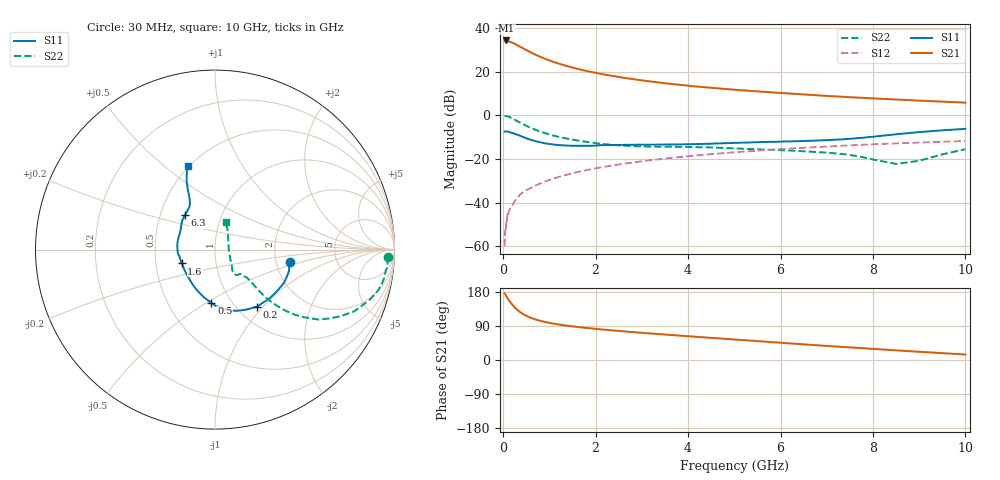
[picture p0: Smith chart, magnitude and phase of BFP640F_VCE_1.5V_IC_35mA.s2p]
! Infineon Technologies  Discrete & RF Semiconductors
! BFP640F
! VCE =  1.5 V,  IC =  35 mA
! Common Emitter S-Parameters:  Apr 2013
# GHz  S  MA  R  50
!  f  S11  S21  S12  S22
! GHz  MAG  ANG  MAG  ANG  MAG  ANG  MAG  ANG
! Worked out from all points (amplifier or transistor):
!   99 points, 30 MHz to 10 GHz, reference 50 ohm
!   highest |S21| = 34.4 dB at 70 MHz (marker M1)
!   |S21| within 3 dB of that: start of sweep to 376.6 MHz
!   unconditionally stable (mu >= 1): 1.577 GHz to end of sweep
!   at 350 MHz: K = 0.53, MSG = 34.2 dB, |S12| = -36.8 dB
!   at 3.5 GHz: K = 1.07, MAG = 15.7 dB, |S12| = -19.8 dB
!   at 10 GHz: K = 1.04, MAG = 7.5 dB, |S12| = -11.8 dB
!   S11 on the Smith chart (normalised r, x): 30 MHz: 2.38, -0.41; 200 MHz: 1.23, -0.92; 500 MHz: 0.81, -0.53; 1.6 GHz: 0.68, -0.11; 6.3 GHz: 0.67, +0.27; 10 GHz: 0.49, +0.61
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0.03  0.4232 -9.5  50.3 175.5  0.001 77.0  0.9626 -2.6
0.05  0.4282 -15.1  51.94 172.0  0.0028 68.3  0.9657 -5.7
0.07  0.4276 -20.6  52.21 167.6  0.0039 65.7  0.9568 -8.4
0.11  0.4179 -32.0  50.23 159.9  0.0055 80.3  0.9374 -13.9
0.15  0.4071 -42.2  48.7 153.2  0.0075 81.7  0.8986 -18.7
0.2  0.3948 -53.6  46.23 145.2  0.0088 77.6  0.8488 -23.9
0.25  0.3768 -62.6  43.79 138.6  0.0109 76.4  0.7929 -27.9
0.3  0.3616 -70.6  41.16 132.7  0.0127 74.4  0.7413 -31.2
0.4  0.3277 -83.7  35.95 123.5  0.0165 72.2  0.6472 -36.1
0.5  0.298 -93.8  31.45 116.6  0.0193 71.9  0.5743 -39.2
0.7  0.2555 -110.2  24.64 107.0  0.0247 71.4  0.4659 -42.2
0.9  0.2288 -123.6  19.99 100.5  0.0302 71.4  0.3932 -43.2
1.2  0.2083 -140.1  15.39 93.7  0.0387 71.3  0.322 -43.0
1.6  0.2008 -157.4  11.71 87.3  0.0499 70.2  0.2662 -41.8
1.7  0.2006 -161.0  11.05 85.9  0.0528 69.9  0.2553 -41.4
2.4  0.2085 -179.3  7.906 77.7  0.0722 67.1  0.2088 -42.7
3.4  0.2143 161.9  5.619 68.1  0.0993 62.3  0.1905 -46.7
5.1  0.2354 142.4  3.809 53.3  0.1448 52.9  0.1734 -51.2
6.3  0.255 131.2  3.116 43.0  0.1757 45.6  0.1544 -50.4
6.7  0.2623 126.6  2.928 39.6  0.1852 43.2  0.1462 -49.0
8.5  0.3682 114.3  2.309 25.4  0.2276 32.1  0.077 -0.9
10  0.4908 107.8  1.96 14.4  0.2583 23.3  0.1672 69.0
